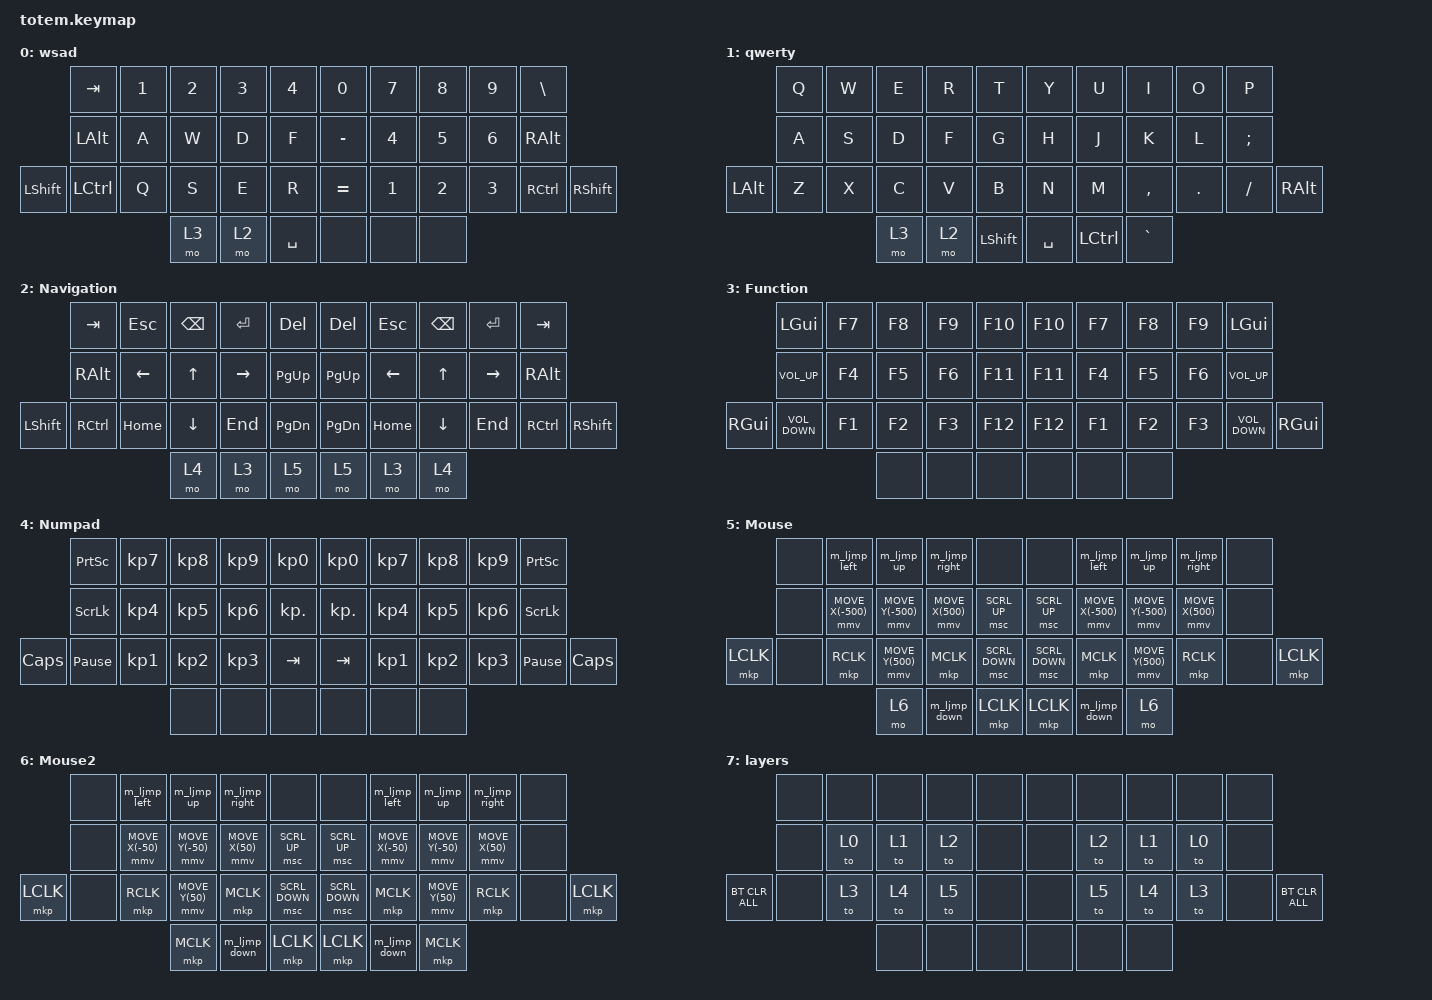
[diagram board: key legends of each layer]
#include <behaviors.dtsi>
#include <dt-bindings/zmk/bt.h>
#include <dt-bindings/zmk/keys.h>
#include <dt-bindings/zmk/pointing.h>

#define ZMK_POINTING_DEFAULT_SCRL_VAL 200    // default: 10

&mmv {
    time-to-max-speed-ms = <70>;
    acceleration-exponent = <2>;
};

&mt {
    quick-tap-ms = <0>;
    flavor = "tap-preferred";
    tapping-term-ms = <250>;
};

/ {
    combos {
        compatible = "zmk,combos";
        timeout-ms = <80>;
        require-prior-idle-ms = <0>;

        layers_selector_L {
            bindings = <&sl 7>;
            key-positions = <22 24>;
            layers = <1 0 2 4 3 5>;
        };

        layers_selector_R {
            bindings = <&sl 7>;
            key-positions = <27 29>;
            layers = <1 0 2 4 3 5>;
        };

        //qwerty macroses------------------------------------------------

        qwerty_s1 {
            bindings = <&kp LS(NUMBER_1)>;
            key-positions = <36 27>;
            layers = <1>;
        };

        qwerty_s2 {
            bindings = <&kp LS(NUMBER_2)>;
            key-positions = <36 28>;
            layers = <1>;
        };

        qwerty_s3 {
            bindings = <&kp LS(NUMBER_3)>;
            key-positions = <36 29>;
            layers = <1>;
        };

        qwerty_s4 {
            bindings = <&kp LS(NUMBER_4)>;
            key-positions = <36 16>;
            layers = <1>;
        };

        qwerty_s5 {
            bindings = <&kp LS(N5)>;
            key-positions = <36 17>;
            layers = <1>;
        };

        qwerty_s6 {
            bindings = <&kp LS(NUMBER_6)>;
            key-positions = <36 18>;
            layers = <1>;
        };

        qwerty_s7 {
            bindings = <&kp LS(N7)>;
            key-positions = <36 6>;
            layers = <1>;
        };

        qwerty_s8 {
            bindings = <&kp LS(NUMBER_8)>;
            key-positions = <36 5>;
            layers = <1>;
        };

        qwerty_s9 {
            bindings = <&kp LS(NUMBER_9)>;
            key-positions = <36 7>;
            layers = <1>;
        };

        qwerty_s0 {
            bindings = <&kp LS(NUMBER_0)>;
            key-positions = <36 8>;
            layers = <1>;
        };

        qwerty_sm {
            bindings = <&kp LS(MINUS)>;
            key-positions = <36 15>;
            layers = <1>;
        };

        qwerty_sp {
            bindings = <&kp LS(EQUAL)>;
            key-positions = <36 26>;
            layers = <1>;
        };

        qwerty_ssl {
            bindings = <&kp BACKSLASH>;
            key-positions = <36 9>;
            layers = <1>;
        };

        qwerty_1 {
            bindings = <&kp NUMBER_1>;
            key-positions = <22 33>;
            layers = <1>;
        };

        qwerty_2 {
            bindings = <&kp NUMBER_2>;
            key-positions = <23 33>;
            layers = <1>;
        };

        qwerty_3 {
            bindings = <&kp NUMBER_3>;
            key-positions = <24 33>;
            layers = <1>;
        };

        qwerty_4 {
            bindings = <&kp NUMBER_4>;
            key-positions = <11 33>;
            layers = <1>;
        };

        qwerty_5 {
            bindings = <&kp NUMBER_5>;
            key-positions = <12 33>;
            layers = <1>;
        };

        qwerty_6 {
            bindings = <&kp NUMBER_6>;
            key-positions = <33 13>;
            layers = <1>;
        };

        qwerty_7 {
            bindings = <&kp NUMBER_7>;
            key-positions = <33 1>;
            layers = <1>;
        };

        qwerty_8 {
            bindings = <&kp NUMBER_8>;
            key-positions = <33 2>;
            layers = <1>;
        };

        qwerty_9 {
            bindings = <&kp NUMBER_9>;
            key-positions = <33 3>;
            layers = <1>;
        };

        qwerty_0 {
            bindings = <&kp NUMBER_0>;
            key-positions = <33 4>;
            layers = <1>;
        };

        qwerty_minus {
            bindings = <&kp MINUS>;
            key-positions = <33 14>;
            layers = <1>;
        };

        qwerty_equ {
            bindings = <&kp EQUAL>;
            key-positions = <33 25>;
            layers = <1>;
        };

        qwerty_br_L {
            bindings = <&kp LEFT_BRACKET>;
            key-positions = <28 17>;
            layers = <1>;
        };

        qwerty_br_R {
            bindings = <&kp RIGHT_BRACKET>;
            key-positions = <18 29>;
            layers = <1>;
        };

        qwerty_quote {
            bindings = <&kp SINGLE_QUOTE>;
            key-positions = <16 27>;
            layers = <1>;
        };

        qwerty_dblquote {
            bindings = <&kp LS(SINGLE_QUOTE)>;
            key-positions = <5 15>;
            layers = <1>;
        };

        qwerty_esc {
            bindings = <&kp ESC>;
            key-positions = <1 11>;
            layers = <1>;
        };

        qwerty_enter {
            bindings = <&kp ENTER>;
            key-positions = <8 18>;
            layers = <1>;
        };

        qwerty_rus_to_wsad {
            bindings = <&mqwerty_to_wsad>;
            key-positions = <1 3>;
            layers = <1>;
        };

        //wsad macroses-----------------------------------

        wsad_5 {
            bindings = <&kp N5>;
            key-positions = <1 11>;
            layers = <0>;
        };

        wsad_6 {
            bindings = <&kp NUMBER_6>;
            key-positions = <12 2>;
            layers = <0>;
        };

        wsad_7 {
            bindings = <&kp N7>;
            key-positions = <3 13>;
            layers = <0>;
        };

        wsad_8 {
            bindings = <&kp N8>;
            key-positions = <4 14>;
            layers = <0>;
        };

        wsad_9 {
            bindings = <&kp N9>;
            key-positions = <1 2>;
            layers = <0>;
        };

        wsad_0 {
            bindings = <&kp N0>;
            key-positions = <3 2>;
            layers = <0>;
        };

        wsad_z {
            bindings = <&kp Z>;
            key-positions = <22 11>;
            layers = <0>;
        };

        wsad_x {
            bindings = <&kp X>;
            key-positions = <23 12>;
            layers = <0>;
        };

        wsad_c {
            bindings = <&kp C>;
            key-positions = <24 13>;
            layers = <0>;
        };

        wsad_v {
            bindings = <&kp V>;
            key-positions = <14 25>;
            layers = <0>;
        };

        wsad_t {
            bindings = <&kp T>;
            key-positions = <22 23>;
            layers = <0>;
        };

        wsad_g {
            bindings = <&kp G>;
            key-positions = <23 24>;
            layers = <0>;
        };

        wsad_b {
            bindings = <&kp B>;
            key-positions = <24 25>;
            layers = <0>;
        };

        wsad_quote {
            bindings = <&kp SINGLE_QUOTE>;
            key-positions = <33 11 1>;
            layers = <0>;
        };

        wsad_min {
            bindings = <&kp MINUS>;
            key-positions = <12 2 33>;
            layers = <0>;
        };

        wsad_equ {
            bindings = <&kp EQUAL>;
            key-positions = <3 13 33>;
            layers = <0>;
        };

        wsad_grave {
            bindings = <&kp GRAVE>;
            key-positions = <0 1>;
            layers = <0>;
        };

        wsad_y {
            bindings = <&kp Y>;
            key-positions = <4 33>;
            layers = <0>;
        };

        wsad_u {
            bindings = <&kp U>;
            key-positions = <3 33>;
            layers = <0>;
        };

        wsad_i {
            bindings = <&kp I>;
            key-positions = <2 33>;
            layers = <0>;
        };

        wsad_o {
            bindings = <&kp O>;
            key-positions = <1 33>;
            layers = <0>;
        };

        wsad_p {
            bindings = <&kp P>;
            key-positions = <0 33>;
            layers = <0>;
        };

        wsad_h {
            bindings = <&kp H>;
            key-positions = <14 33>;
            layers = <0>;
        };

        wsad_j {
            bindings = <&kp J>;
            key-positions = <13 33>;
            layers = <0>;
        };

        wsad_k {
            bindings = <&kp K>;
            key-positions = <12 33>;
            layers = <0>;
        };

        wsad_l_key {
            bindings = <&kp L>;
            key-positions = <11 33>;
            layers = <0>;
        };

        wsad_n {
            bindings = <&kp N>;
            key-positions = <25 33>;
            layers = <0>;
        };

        wsad_m {
            bindings = <&kp M>;
            key-positions = <24 33>;
            layers = <0>;
        };

        wsad_comma {
            bindings = <&kp COMMA>;
            key-positions = <23 33>;
            layers = <0>;
        };

        wsad_period {
            bindings = <&kp PERIOD>;
            key-positions = <22 33>;
            layers = <0>;
        };

        wsad_sbr_l {
            bindings = <&kp LEFT_BRACKET>;
            key-positions = <33 11 22>;
            layers = <0>;
        };

        wsad_sbr_r {
            bindings = <&kp RIGHT_BRACKET>;
            key-positions = <33 12 23>;
            layers = <0>;
        };

        wsad_sk {
            bindings = <&kp SEMI>;
            key-positions = <13 24 33>;
            layers = <0>;
        };

        wsad_slash {
            bindings = <&kp SLASH>;
            key-positions = <14 25 33>;
            layers = <0>;
        };

        wsad_bslash {
            bindings = <&kp BACKSLASH>;
            key-positions = <14 4 33>;
            layers = <0>;
        };

        wsad_to_rus_qwerty {
            bindings = <&mwsad_to_qwerty>;
            key-positions = <1 3>;
            layers = <0>;
        };

        //nump macroses------------------------------------------------

        numpL_div {
            bindings = <&kp KP_DIVIDE>;
            key-positions = <1 11>;
            layers = <4>;
        };

        numpL_mult {
            bindings = <&kp KP_MULTIPLY>;
            key-positions = <2 12>;
            layers = <4>;
        };

        numpL_minus {
            bindings = <&kp KP_SUBTRACT>;
            key-positions = <3 13>;
            layers = <4>;
        };

        numpL_plus {
            bindings = <&kp KP_PLUS>;
            key-positions = <13 24>;
            layers = <4>;
        };

        numpL_nlock {
            bindings = <&kp KP_NUMLOCK>;
            key-positions = <0 1>;
            layers = <4>;
        };

        numpL_ent {
            bindings = <&kp KP_ENTER>;
            key-positions = <23 12>;
            layers = <4>;
        };

        numpR_div {
            bindings = <&kp KP_DIVIDE>;
            key-positions = <8 18>;
            layers = <4>;
        };

        numpR_mult {
            bindings = <&kp KP_MULTIPLY>;
            key-positions = <7 17>;
            layers = <4>;
        };

        numpR_minus {
            bindings = <&kp KP_SUBTRACT>;
            key-positions = <6 16>;
            layers = <4>;
        };

        numpR_plus {
            bindings = <&kp KP_PLUS>;
            key-positions = <16 27>;
            layers = <4>;
        };

        numpR_nlock {
            bindings = <&kp KP_NUMLOCK>;
            key-positions = <9 8>;
            layers = <4>;
        };

        numpR_ent {
            bindings = <&kp KP_ENTER>;
            key-positions = <28 17>;
            layers = <4>;
        };

        nav_ins {
            bindings = <&kp INS>;
            key-positions = <14 25>;
            layers = <2>;
        };

        //other macroses------------------------------------------------
    };

    behaviors {
        wasd_nums: wasd_nums {
            compatible = "zmk,behavior-hold-tap";
            label = "WASD_NUMS";
            bindings = <&kp>, <&kp>;

            #binding-cells = <2>;
            quick-tap-ms = <0>;
            tapping-term-ms = <250>;
            require-prior-idle-ms = <0>;
        };

        hl_mod: hl_mod {
            compatible = "zmk,behavior-hold-tap";
            label = "HL_MOD";
            bindings = <&mo>, <&kp>;

            #binding-cells = <2>;
            tapping-term-ms = <300>;
            quick-tap-ms = <0>;
            require-prior-idle-ms = <0>;
            flavor = "balanced";
        };

        layer_stlayer: layer_stlayer {
            compatible = "zmk,behavior-hold-tap";
            label = "LAYER_STLAYER";
            bindings = <&mo>, <&sl>;

            #binding-cells = <2>;
            quick-tap-ms = <0>;
            tapping-term-ms = <250>;
            require-prior-idle-ms = <0>;
        };

        kp_stlayer: kp_stlayer {
            compatible = "zmk,behavior-hold-tap";
            label = "KP_STLAYER";
            bindings = <&kp>, <&sl>;

            #binding-cells = <2>;
            quick-tap-ms = <0>;
            tapping-term-ms = <250>;
            require-prior-idle-ms = <0>;
        };
    };

    macros {
        mwsad_to_qwerty: mwsad_to_qwerty {
            compatible = "zmk,behavior-macro";
            #binding-cells = <0>;
            bindings = <&kp LA(LEFT_SHIFT) &to 1>;
            label = "MWSAD_TO_QWERTY";
        };

        mqwerty_to_wsad: new_macro {
            compatible = "zmk,behavior-macro";
            #binding-cells = <0>;
            bindings = <&kp LA(LEFT_SHIFT) &to 0>;
            label = "MQWERTY_TO_WSAD";
        };

        m_ljmp_up: m_ljmp_up {
            compatible = "zmk,behavior-macro";
            #binding-cells = <0>;
            tap-ms = <83>;
            wait-ms = <83>; // Пауза между шагами при удержании кнопки
            bindings =
                <&macro_press>,
                <&mmv MOVE_Y(-13300)>,
                <&macro_release>,
                <&mmv MOVE_Y(-13300)>;
        };

        m_ljmp_down: m_ljmp_down {
            compatible = "zmk,behavior-macro";
            #binding-cells = <0>;
            tap-ms = <83>;
            wait-ms = <83>; // Пауза между шагами при удержании кнопки
            bindings =
                <&macro_press>,
                <&mmv MOVE_Y(13300)>,
                <&macro_release>,
                <&mmv MOVE_Y(13300)>;
        };

        m_ljmp_right: m_ljmp_right {
            compatible = "zmk,behavior-macro";
            #binding-cells = <0>;
            tap-ms = <83>;
            wait-ms = <83>; // Пауза между шагами при удержании кнопки
            bindings =
                <&macro_press>,
                <&mmv MOVE_X(23700)>,
                <&macro_release>,
                <&mmv MOVE_X(23700)>;
        };

        m_ljmp_left: m_ljmp_left {
            compatible = "zmk,behavior-macro";
            #binding-cells = <0>;
            tap-ms = <83>;
            wait-ms = <83>; // Пауза между шагами при удержании кнопки
            bindings =
                <&macro_press>,
                <&mmv MOVE_X(-23700)>,
                <&macro_release>,
                <&mmv MOVE_X(-23700)>;
        };
    };

    keymap {
        compatible = "zmk,keymap";

        wsad {
            bindings = <
           &kp TAB    &kp N1  &kp N2  &kp N3  &kp N4       &kp N0     &kp N7  &kp N8  &kp N9  &kp BSLH
           &kp LALT   &kp A   &kp W   &kp D   &kp F        &kp MINUS  &kp N4  &kp N5  &kp N6  &kp RALT
&kp LSHFT  &kp LCTRL  &kp Q   &kp S   &kp E   &kp R        &kp EQUAL  &kp N1  &kp N2  &kp N3  &kp RCTRL  &kp RSHFT
                              &mo 3   &mo 2   &kp SPACE    &none      &none   &none
            >;
        };

        qwerty {
            bindings = <
              &kp Q  &kp W  &kp E  &kp R  &kp T        &kp Y      &kp U      &kp I      &kp O    &kp P
              &kp A  &kp S  &kp D  &kp F  &kp G        &kp H      &kp J      &kp K      &kp L    &kp SEMI
&kp LEFT_ALT  &kp Z  &kp X  &kp C  &kp V  &kp B        &kp N      &kp M      &kp COMMA  &kp DOT  &kp FSLH  &kp RALT
                            &mo 3  &mo 2  &kp LSHFT    &kp SPACE  &kp LCTRL  &kp GRAVE
            >;
        };

        Navigation {
            bindings = <
           &kp TAB        &kp ESCAPE      &kp BSPC      &kp ENTER        &kp DEL          &kp DEL    &kp ESCAPE      &kp BACKSPACE   &kp ENTER        &kp TAB
           &kp RIGHT_ALT  &kp LEFT_ARROW  &kp UP_ARROW  &kp RIGHT_ARROW  &kp PG_UP        &kp PG_UP  &kp LEFT_ARROW  &kp UP_ARROW    &kp RIGHT_ARROW  &kp RALT
&kp LSHFT  &kp RCTRL      &kp HOME        &kp DOWN      &kp END          &kp PAGE_DOWN    &kp PG_DN  &kp HOME        &kp DOWN_ARROW  &kp END          &kp RCTRL  &kp RSHFT
                                          &mo 4         &mo 3            &mo 5            &mo 5      &mo 3           &mo 4
            >;
        };

        Function {
            bindings = <
          &kp LGUI           &kp F7  &kp F8  &kp F9  &kp F10    &kp F10  &kp F7  &kp F8  &kp F9  &kp LGUI
          &kp C_VOLUME_UP    &kp F4  &kp F5  &kp F6  &kp F11    &kp F11  &kp F4  &kp F5  &kp F6  &kp C_VOLUME_UP
&kp RGUI  &kp C_VOLUME_DOWN  &kp F1  &kp F2  &kp F3  &kp F12    &kp F12  &kp F1  &kp F2  &kp F3  &kp C_VOLUME_DOWN  &kp RGUI
                                     &none   &none   &none      &none    &none   &none
            >;
        };

        Numpad {
            bindings = <
          &kp PRINTSCREEN  &kp KP_NUMBER_7  &kp KP_NUMBER_8  &kp KP_NUMBER_9  &kp KP_N0     &kp KP_N0   &kp KP_NUMBER_7  &kp KP_NUMBER_8  &kp KP_NUMBER_9  &kp PRINTSCREEN
          &kp SCROLLLOCK   &kp KP_NUMBER_4  &kp KP_NUMBER_5  &kp KP_NUMBER_6  &kp KP_DOT    &kp KP_DOT  &kp KP_NUMBER_4  &kp KP_NUMBER_5  &kp KP_NUMBER_6  &kp SCROLLLOCK
&kp CAPS  &kp PAUSE_BREAK  &kp KP_NUMBER_1  &kp KP_NUMBER_2  &kp KP_NUMBER_3  &kp TAB       &kp TAB     &kp KP_NUMBER_1  &kp KP_NUMBER_2  &kp KP_NUMBER_3  &kp PAUSE_BREAK  &kp CLCK
                                            &none            &none            &none         &none       &none            &none
            >;
        };

        Mouse {
            bindings = <
           &none  &m_ljmp_left       &m_ljmp_up         &m_ljmp_right     &none             &none           &m_ljmp_left       &m_ljmp_up         &m_ljmp_right     &none
           &none  &mmv MOVE_X(-500)  &mmv MOVE_Y(-500)  &mmv MOVE_X(500)  &msc SCRL_UP      &msc SCRL_UP    &mmv MOVE_X(-500)  &mmv MOVE_Y(-500)  &mmv MOVE_X(500)  &none
&mkp LCLK  &none  &mkp RCLK          &mmv MOVE_Y(500)   &mkp MCLK         &msc SCRL_DOWN    &msc SCRL_DOWN  &mkp MCLK          &mmv MOVE_Y(500)   &mkp RCLK         &none  &mkp LCLK
                                     &mo 6              &m_ljmp_down      &mkp LCLK         &mkp LCLK       &m_ljmp_down       &mo 6
            >;
        };

        Mouse2 {
            bindings = <
           &none  &m_ljmp_left      &m_ljmp_up        &m_ljmp_right    &none             &none           &m_ljmp_left      &m_ljmp_up        &m_ljmp_right    &none
           &none  &mmv MOVE_X(-50)  &mmv MOVE_Y(-50)  &mmv MOVE_X(50)  &msc SCRL_UP      &msc SCRL_UP    &mmv MOVE_X(-50)  &mmv MOVE_Y(-50)  &mmv MOVE_X(50)  &none
&mkp LCLK  &none  &mkp RCLK         &mmv MOVE_Y(50)   &mkp MCLK        &msc SCRL_DOWN    &msc SCRL_DOWN  &mkp MCLK         &mmv MOVE_Y(50)   &mkp RCLK        &none  &mkp LCLK
                                    &mkp MCLK         &m_ljmp_down     &mkp LCLK         &mkp LCLK       &m_ljmp_down      &mkp MCLK
            >;
        };

        layers {
            bindings = <
                &none  &none  &none  &none  &none    &none  &none  &none  &none  &none
                &none  &to 0  &to 1  &to 2  &none    &none  &to 2  &to 1  &to 0  &none
&bt BT_CLR_ALL  &none  &to 3  &to 4  &to 5  &none    &none  &to 5  &to 4  &to 3  &none  &bt BT_CLR_ALL
                              &none  &none  &none    &none  &none  &none
            >;
        };
    };

    conditional_layers { compatible = "zmk,conditional-layers"; };
};
